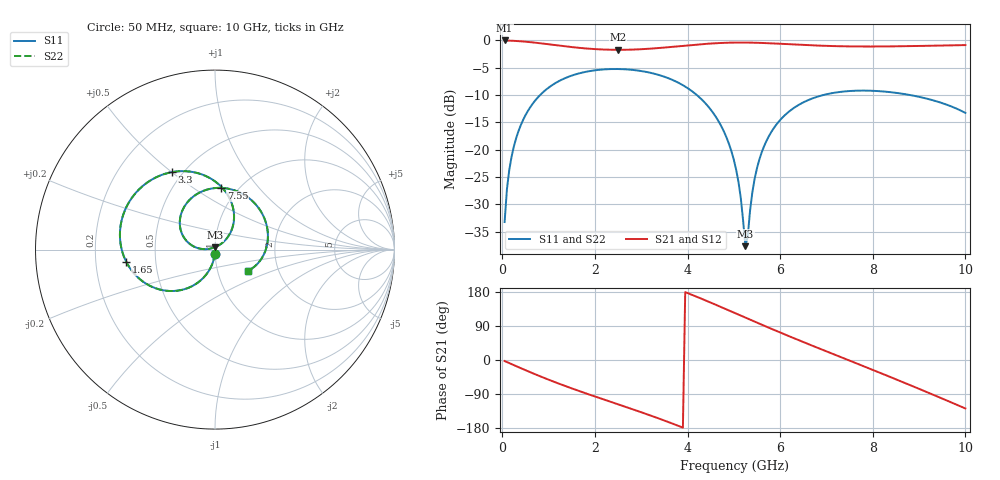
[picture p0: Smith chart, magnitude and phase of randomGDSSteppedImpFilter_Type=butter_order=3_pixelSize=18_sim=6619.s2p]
! freq	dB(S11)	phase(S11)	dB(S12)	phase(S12)
!  dB(S21)	phase(S21)	dB(S22)	phase(S22)
!S-par simulation data
#  GHz  S  DB  R 50
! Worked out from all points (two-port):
!   200 points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, 50 MHz to 10 GHz, reference 50 ohm
!   highest |S21| = -0.01 dB at 50 MHz (marker M1); lowest = -1.7 dB at 2.5 GHz (marker M2)
!   |S21| within 3 dB of the highest: start of sweep to end of sweep
!   lowest |S11| = -37.6 dB at 5.25 GHz (marker M3), VSWR 1.03, Z = 49.9 + j1.31 ohm
!   |S11| at or under -10 dB: start of sweep to 816 MHz; 4.202 GHz to 6.927 GHz (2.725 GHz wide, 49 % of centre); 8.812 GHz to end of sweep
!   |S22| runs from -37.4 to -5.2 dB; largest |S21 - S12| = 0
!   S11 on the Smith chart (normalised r, x): 50 MHz: 1.00, -0.04; 1.65 GHz: 0.34, -0.06; 3.3 GHz: 0.44, +0.50; 7.55 GHz: 0.84, +0.65; 10 GHz: 1.40, -0.35
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0.05  -33.22 -92.8  -0.01 -2.8  -0.01 -2.8  -33.22 -92.8
0.1  -27.22 -95.7  -0.02 -5.5  -0.02 -5.5  -27.22 -95.7
0.2  -21.28 -101.4  -0.05 -10.9  -0.05 -10.9  -21.28 -101.4
0.45  -14.53 -114.8  -0.19 -24.2  -0.19 -24.2  -14.53 -114.8
1  -8.63 -142.4  -0.71 -51.9  -0.71 -51.9  -8.63 -142.4
1.65  -6.05 -172.0  -1.35 -81.4  -1.35 -81.4  -6.05 -171.9
1.75  -5.84 -176.3  -1.43 -85.7  -1.43 -85.7  -5.84 -176.2
2.5  -5.23 152.6  -1.72 -116.9  -1.72 -116.9  -5.23 152.7
3.3  -6.13 119.0  -1.44 -150.8  -1.44 -150.8  -6.13 119.1
3.4  -6.37 114.6  -1.38 -155.2  -1.38 -155.2  -6.37 114.7
4.45  -12.12 65.6  -0.60 154.1  -0.60 154.1  -12.12 65.8
4.8  -16.93 49.5  -0.44 135.8  -0.44 135.8  -16.93 49.7
5.05  -23.65 42.0  -0.39 122.5  -0.39 122.5  -23.65 42.5
5.15  -28.84 45.6  -0.39 117.2  -0.39 117.2  -28.80 46.4
5.25  -37.64 93.1  -0.39 111.8  -0.39 111.8  -37.35 93.8
5.45  -25.27 177.8  -0.42 101.2  -0.42 101.2  -25.25 177.3
5.7  -18.46 171.7  -0.49 88.1  -0.49 88.1  -18.45 171.5
6.7  -10.60 125.0  -0.90 37.5  -0.90 37.5  -10.60 125.0
7.55  -9.23 84.3  -1.10 -4.1  -1.10 -4.1  -9.23 84.4
8.35  -9.44 46.0  -1.09 -43.4  -1.09 -43.4  -9.44 46.0
9.2  -10.72 5.1  -0.98 -86.3  -0.98 -86.3  -10.72 5.1
10  -13.26 -33.1  -0.85 -127.9  -0.85 -127.9  -13.26 -33.1
